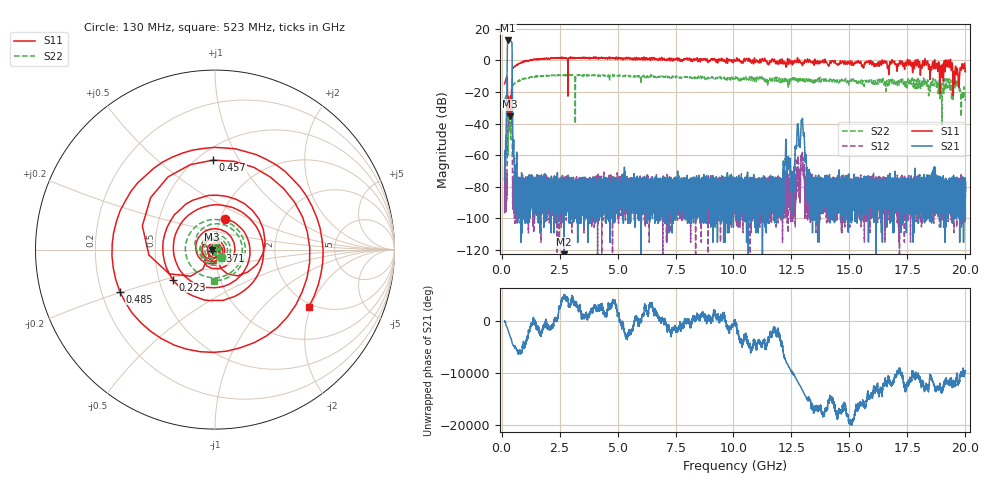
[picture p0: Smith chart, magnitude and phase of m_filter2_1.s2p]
!Created with skrf (http://scikit-rf.org).
# GHz S RI R 50.0
!freq ReS11 ImS11 ReS21 ImS21 ReS12 ImS12 ReS22 ImS22
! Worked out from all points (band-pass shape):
!   20013 points, 130 MHz to 20 GHz, reference 50 ohm
!   highest |S21| = 12.51 dB at 285 MHz (marker M1); lowest = -178.5 dB at 2.696 GHz (marker M2)
!   |S21| within 3 dB of the highest: 249.6 MHz to 450.2 MHz (200.6 MHz wide, 57.3 % of centre)
!   lowest |S11| = -35.5 dB at 373 MHz (marker M3), VSWR 1.03, Z = 48.4 - j0.0354 ohm
!   |S11| at or under -10 dB: start of sweep to 451.4 MHz; 18.88283 GHz to 18.91126 GHz (28.43 MHz wide, 0.15 % of centre); 19.68711 GHz to 19.74722 GHz (60.1 MHz wide, 0.305 % of centre) (the widest 3 of 9)
!   |S22| runs from -59.8 to -9.1 dB; largest |S21 - S12| = 4.2
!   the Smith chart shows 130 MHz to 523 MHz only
!   S11 on the Smith chart (normalised r, x): 130 MHz: 1.05, +0.37; 223 MHz: 0.59, -0.21; 371 MHz: 0.97, -0.01; 457 MHz: 0.59, +0.79; 485 MHz: 0.28, -0.20; 523 MHz: 1.90, -1.93
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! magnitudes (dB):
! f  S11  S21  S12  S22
! 130 MHz  -14.8  -67.6  -83.5  -25.5
! 223 MHz  -10.8  -24.0  -77.7  -21.3
! 285 MHz  -35.2  12.5  -41.2  -51.3
! 371 MHz  -35.2  12.2  -37.0  -41.3
! 373 MHz  -35.5  12.3  -36.8  -41.3
! 457 MHz  -6.0  -6.5  -52.1  -16.7
! 485 MHz  -4.7  -56.8  -94.6  -15.6
! 523 MHz  -4.3  -51.3  -77.2  -15.2
! 583 MHz  -3.7  -77.8  -90.5  -14.5
! 773 MHz  -2.0  -82.2  -80.8  -12.7
! 2.696 GHz  1.5  -178.5  -88.7  -9.4
! 3.442 GHz  1.9  -88.0  -90.7  -9.1
! 6.754 GHz  0.2  -78.9  -80.2  -10.6
! 10.06 GHz  -0.4  -80.6  -80.2  -11.9
! 12.03 GHz  -0.7  -87.7  -88.4  -12.7
! 12.34 GHz  1.1  -65.8  -89.7  -13.9
! 12.54 GHz  -2.8  -81.8  -98.4  -11.2
! 12.74 GHz  -0.4  -47.7  -70.3  -11.9
! 12.97 GHz  -3.2  -37.2  -59.5  -11.8
! 13.38 GHz  -1.0  -84.4  -86.1  -12.7
! 16.69 GHz  -7.3  -88.7  -83.6  -12.3
! 20 GHz  -7.1  -82.6  -80.5  -24.1
